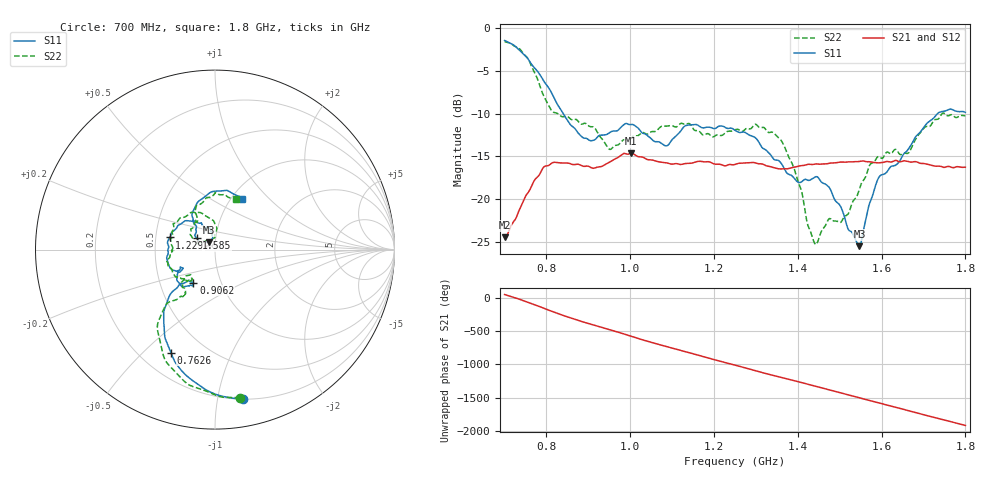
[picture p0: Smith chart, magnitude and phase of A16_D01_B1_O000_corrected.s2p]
! Created with skrf 1.9.0 (http://scikit-rf.org).
# Hz S RI R 50.0
!freq ReS11 ImS11 ReS21 ImS21 ReS12 ImS12 ReS22 ImS22
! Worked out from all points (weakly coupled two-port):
!   1601 points, 700 MHz to 1.8 GHz, reference 50 ohm
!   highest |S21| = -14.66 dB at 1.002 GHz (marker M1); lowest = -24.5 dB at 700 MHz (marker M2)
!   lowest |S11| = -25.5 dB at 1.547 GHz (marker M3), VSWR 1.11, Z = 46.7 + j3.89 ohm
!   |S11| at or under -10 dB: 840 MHz to 1.733 GHz (893.2 MHz wide, 69.4 % of centre)
!   |S22| runs from -25.3 to -1.5 dB; largest |S21 - S12| = 0.0038
!   S11 on the Smith chart (normalised r, x): 700 MHz: 0.20, -1.19; 762.6 MHz: 0.32, -0.61; 906.2 MHz: 0.74, -0.28; 1.229 GHz: 0.59, +0.09; 1.585 GHz: 0.81, +0.10; 1.8 GHz: 1.12, +0.71
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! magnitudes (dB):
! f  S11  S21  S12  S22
! 700 MHz  -1.4  -24.5  -24.3  -1.5
! 762.6 MHz  -4.1  -18.7  -18.7  -4.2
! 812.8 MHz  -7.6  -15.8  -15.8  -9.7
! 883.6 MHz  -12.7  -16.1  -16.0  -11.2
! 906.2 MHz  -13.2  -16.3  -16.3  -11.5
! 950.9 MHz  -12.2  -15.7  -15.7  -14.2
! 1.002 GHz  -11.3  -14.7  -14.8  -12.9
! 1.067 GHz  -13.3  -15.6  -15.6  -11.8
! 1.229 GHz  -11.7  -16.1  -16.0  -12.2
! 1.25 GHz  -11.9  -16.0  -15.9  -11.9
! 1.36 GHz  -15.8  -16.5  -16.5  -13.1
! 1.405 GHz  -18.1  -16.1  -16.1  -18.6
! 1.434 GHz  -17.7  -16.0  -15.9  -24.3
! 1.445 GHz  -17.4  -15.9  -15.9  -25.3
! 1.474 GHz  -18.6  -15.8  -15.8  -22.3
! 1.504 GHz  -21.1  -15.7  -15.7  -22.6
! 1.547 GHz  -25.5  -15.6  -15.6  -18.8
! 1.585 GHz  -18.4  -15.8  -15.8  -15.4
! 1.617 GHz  -16.5  -15.6  -15.6  -14.6
! 1.663 GHz  -14.2  -15.6  -15.6  -14.6
! 1.735 GHz  -9.9  -16.2  -16.2  -10.6
! 1.8 GHz  -9.8  -16.3  -16.3  -10.3
